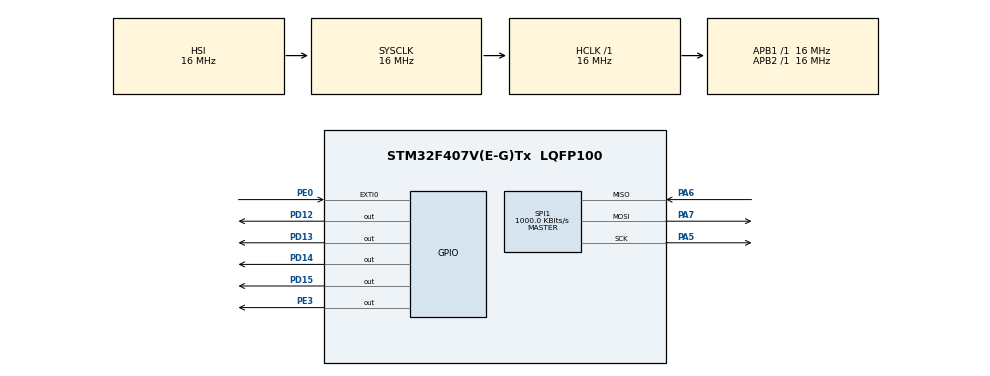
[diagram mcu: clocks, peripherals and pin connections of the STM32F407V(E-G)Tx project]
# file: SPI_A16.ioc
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Mcu.Family=STM32F4
PA6.Mode=Full_Duplex_Master
RCC.CortexFreq_Value=16000000
PA7.Mode=Full_Duplex_Master
SPI1.VirtualType=VM_MASTER
ProjectManager.StackSize=0x400
PD13.Signal=GPIO_Output
ProjectManager.TargetToolchain=STM32CubeIDE
SPI1.Direction=SPI_DIRECTION_2LINES
SPI1.CalculateBaudRate=1000.0 KBits/s
RCC.LSE_VALUE=32768
RCC.AHBFreq_Value=16000000
PE3.PinState=GPIO_PIN_SET
PA5.Signal=SPI1_SCK
RCC.HSE_VALUE=25000000
board=custom
RCC.VCOOutputFreq_Value=192000000
NVIC.SPI1_IRQn=true\:0\:0\:false\:false\:true\:true\:true
RCC.APB2Freq_Value=16000000
SPI1.Mode=SPI_MODE_MASTER
Mcu.Name=STM32F407V(E-G)Tx
PE0.Signal=GPXTI0
PD14.Signal=GPIO_Output
NVIC.EXTI0_IRQn=true\:0\:0\:false\:false\:true\:true\:true
RCC.SYSCLKFreq_VALUE=16000000
Mcu.Package=LQFP100
PA6.Signal=SPI1_MISO
PD12.Signal=GPIO_Output
ProjectManager.HeapSize=0x200
RCC.HSI_VALUE=16000000
NVIC.PriorityGroup=NVIC_PRIORITYGROUP_4
PE3.Signal=GPIO_Output
RCC.APB1Freq_Value=16000000
SPI1.BaudRatePrescaler=SPI_BAUDRATEPRESCALER_16
PD15.Signal=GPIO_Output
PA5.Mode=Full_Duplex_Master
PA7.Signal=SPI1_MOSI

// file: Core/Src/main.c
/* USER CODE BEGIN Header */
/**
  ******************************************************************************
  * @file           : main.c
  * @brief          : Main program body
  ******************************************************************************
  * @attention
  *
  * <h2><center>&copy; Copyright (c) 2021 STMicroelectronics.
  * All rights reserved.</center></h2>
  *
  * This software component is licensed by ST under BSD 3-Clause license,
  * the "License"; You may not use this file except in compliance with the
  * License. You may obtain a copy of the License at:
  *                        opensource.org/licenses/BSD-3-Clause
  *
  ******************************************************************************
  */
/* USER CODE END Header */
#include "main.h"

SPI_HandleTypeDef hspi1;

/* USER CODE BEGIN PV */
uint8_t Rx_x[2],Rx_y[2],Rx_z[2],Return[2],TxBuf[2];
/* USER CODE END PV */

void SystemClock_Config(void);
static void MX_GPIO_Init(void);
static void MX_SPI1_Init(void);

int main(void)
{

  /* MCU Configuration--------------------------------------------------------*/

  /* Reset of all peripherals, Initializes the Flash interface and the Systick. */
  HAL_Init();

  /* Configure the system clock */
  SystemClock_Config();

  /* Initialize all configured peripherals */
  MX_GPIO_Init();
  MX_SPI1_Init();
  /* USER CODE BEGIN 2 */
HAL_GPIO_WritePin(GPIOE, GPIO_PIN_3, RESET);
TxBuf[0]=0x20;// Address of Register
TxBuf[1]=0x37;// Data to be filled
HAL_SPI_Transmit(&hspi1, TxBuf, 2, 50);
HAL_GPIO_WritePin(GPIOE, GPIO_PIN_3, SET);

HAL_GPIO_WritePin(GPIOE, GPIO_PIN_3, RESET);
TxBuf[0]=0x20|0x80;
HAL_SPI_Transmit(&hspi1, TxBuf, 1, 50);
HAL_SPI_Receive(&hspi1, Return, 1, 50);
HAL_GPIO_WritePin(GPIOE, GPIO_PIN_3, SET);

HAL_GPIO_WritePin(GPIOE, GPIO_PIN_3, RESET);
TxBuf[0]=0x23;
TxBuf[1]=0xC8;
HAL_SPI_Transmit(&hspi1, TxBuf, 2, 50);
HAL_GPIO_WritePin(GPIOE, GPIO_PIN_3, SET);
  /* USER CODE END 2 */

  /* Infinite loop */
  while (1)
  {

  }
}

void SystemClock_Config(void)
{
  RCC_OscInitTypeDef RCC_OscInitStruct = {0};
  RCC_ClkInitTypeDef RCC_ClkInitStruct = {0};

  /** Configure the main internal regulator output voltage
  */
  __HAL_RCC_PWR_CLK_ENABLE();
  __HAL_PWR_VOLTAGESCALING_CONFIG(PWR_REGULATOR_VOLTAGE_SCALE1);
  /** Initializes the RCC Oscillators according to the specified parameters
  * in the RCC_OscInitTypeDef structure.
  */
  RCC_OscInitStruct.OscillatorType = RCC_OSCILLATORTYPE_HSI;
  RCC_OscInitStruct.HSIState = RCC_HSI_ON;
  RCC_OscInitStruct.HSICalibrationValue = RCC_HSICALIBRATION_DEFAULT;
  RCC_OscInitStruct.PLL.PLLState = RCC_PLL_NONE;
  if (HAL_RCC_OscConfig(&RCC_OscInitStruct) != HAL_OK)
  {
    Error_Handler();
  }
  /** Initializes the CPU, AHB and APB buses clocks
  */
  RCC_ClkInitStruct.ClockType = RCC_CLOCKTYPE_HCLK|RCC_CLOCKTYPE_SYSCLK
                              |RCC_CLOCKTYPE_PCLK1|RCC_CLOCKTYPE_PCLK2;
  RCC_ClkInitStruct.SYSCLKSource = RCC_SYSCLKSOURCE_HSI;
  RCC_ClkInitStruct.AHBCLKDivider = RCC_SYSCLK_DIV1;
  RCC_ClkInitStruct.APB1CLKDivider = RCC_HCLK_DIV1;
  RCC_ClkInitStruct.APB2CLKDivider = RCC_HCLK_DIV1;

  if (HAL_RCC_ClockConfig(&RCC_ClkInitStruct, FLASH_LATENCY_0) != HAL_OK)
  {
    Error_Handler();
  }
}

static void MX_SPI1_Init(void)
{

  /* SPI1 parameter configuration*/
  hspi1.Instance = SPI1;
  hspi1.Init.Mode = SPI_MODE_MASTER;
  hspi1.Init.Direction = SPI_DIRECTION_2LINES;
  hspi1.Init.DataSize = SPI_DATASIZE_8BIT;
  hspi1.Init.CLKPolarity = SPI_POLARITY_LOW;
  hspi1.Init.CLKPhase = SPI_PHASE_1EDGE;
  hspi1.Init.NSS = SPI_NSS_SOFT;
  hspi1.Init.BaudRatePrescaler = SPI_BAUDRATEPRESCALER_16;
  hspi1.Init.FirstBit = SPI_FIRSTBIT_MSB;
  hspi1.Init.TIMode = SPI_TIMODE_DISABLE;
  hspi1.Init.CRCCalculation = SPI_CRCCALCULATION_DISABLE;
  hspi1.Init.CRCPolynomial = 10;
  if (HAL_SPI_Init(&hspi1) != HAL_OK)
  {
    Error_Handler();
  }

}

static void MX_GPIO_Init(void)
{
  GPIO_InitTypeDef GPIO_InitStruct = {0};

  /* GPIO Ports Clock Enable */
  __HAL_RCC_GPIOE_CLK_ENABLE();
  __HAL_RCC_GPIOA_CLK_ENABLE();
  __HAL_RCC_GPIOD_CLK_ENABLE();

  /*Configure GPIO pin Output Level */
  HAL_GPIO_WritePin(GPIOE, GPIO_PIN_3, GPIO_PIN_SET);

  /*Configure GPIO pin Output Level */
  HAL_GPIO_WritePin(GPIOD, GPIO_PIN_12|GPIO_PIN_13|GPIO_PIN_14|GPIO_PIN_15, GPIO_PIN_RESET);

  /*Configure GPIO pin : PE3 */
  GPIO_InitStruct.Pin = GPIO_PIN_3;
  GPIO_InitStruct.Mode = GPIO_MODE_OUTPUT_PP;
  GPIO_InitStruct.Pull = GPIO_NOPULL;
  GPIO_InitStruct.Speed = GPIO_SPEED_FREQ_LOW;
  HAL_GPIO_Init(GPIOE, &GPIO_InitStruct);

  /*Configure GPIO pins : PD12 PD13 PD14 PD15 */
  GPIO_InitStruct.Pin = GPIO_PIN_12|GPIO_PIN_13|GPIO_PIN_14|GPIO_PIN_15;
  GPIO_InitStruct.Mode = GPIO_MODE_OUTPUT_PP;
  GPIO_InitStruct.Pull = GPIO_NOPULL;
  GPIO_InitStruct.Speed = GPIO_SPEED_FREQ_LOW;
  HAL_GPIO_Init(GPIOD, &GPIO_InitStruct);

  /*Configure GPIO pin : PE0 */
  GPIO_InitStruct.Pin = GPIO_PIN_0;
  GPIO_InitStruct.Mode = GPIO_MODE_IT_RISING;
  GPIO_InitStruct.Pull = GPIO_NOPULL;
  HAL_GPIO_Init(GPIOE, &GPIO_InitStruct);

  /* EXTI interrupt init*/
  HAL_NVIC_SetPriority(EXTI0_IRQn, 0, 0);
  HAL_NVIC_EnableIRQ(EXTI0_IRQn);

}

/* USER CODE BEGIN 4 */
void HAL_GPIO_EXTI_Callback(uint16_t GPIO_Pin)
{
  HAL_GPIO_TogglePin(GPIOD, GPIO_PIN_12);

  HAL_GPIO_WritePin(GPIOE, GPIO_PIN_3, RESET);
  TxBuf[0]=0x29|0x80;
  HAL_SPI_Transmit(&hspi1, TxBuf, 1, 50);
  HAL_SPI_Receive(&hspi1, Rx_x, 1, 50);
  HAL_GPIO_WritePin(GPIOE, GPIO_PIN_3, SET);

  HAL_GPIO_TogglePin(GPIOD, GPIO_PIN_13);
  HAL_GPIO_WritePin(GPIOE, GPIO_PIN_3, RESET);
  TxBuf[0]=0x2B|0x80;
  HAL_SPI_Transmit(&hspi1, TxBuf, 1, 50);
  HAL_SPI_Receive(&hspi1, Rx_y, 1, 50);
  HAL_GPIO_WritePin(GPIOE, GPIO_PIN_3, SET);

  HAL_GPIO_TogglePin(GPIOD, GPIO_PIN_14);
  HAL_GPIO_WritePin(GPIOE, GPIO_PIN_3, RESET);
  TxBuf[0]=0x2D|0x80;
  HAL_SPI_Transmit(&hspi1, TxBuf, 1, 50);
  HAL_SPI_Receive(&hspi1, Rx_z, 1, 50);
  HAL_GPIO_WritePin(GPIOE, GPIO_PIN_3, SET);
}
/* USER CODE END 4 */

void Error_Handler(void)
{
  __disable_irq();
  while (1)
  {
  }
}

/************************ (C) COPYRIGHT STMicroelectronics *****END OF FILE****/
